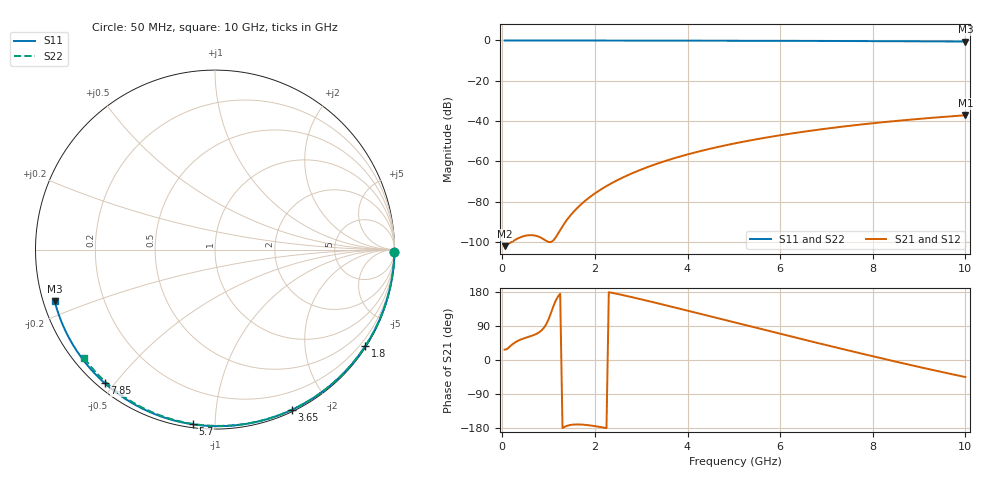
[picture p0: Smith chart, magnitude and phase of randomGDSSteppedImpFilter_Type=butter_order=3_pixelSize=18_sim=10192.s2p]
! freq	dB(S11)	phase(S11)	dB(S12)	phase(S12)
!  dB(S21)	phase(S21)	dB(S22)	phase(S22)
!S-par simulation data
#  GHz  S  DB  R 50
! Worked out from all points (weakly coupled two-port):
!   200 points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, 50 MHz to 10 GHz, reference 50 ohm
!   highest |S21| = -37.11 dB at 10 GHz (marker M1); lowest = -102.1 dB at 50 MHz (marker M2)
!   lowest |S11| = -0.6 dB at 10 GHz (marker M3), VSWR 31.47, Z = 1.63 - j7.86 ohm
!   |S11| at or under -10 dB: nowhere
!   |S22| runs from -0.5 to 0.0 dB; largest |S21 - S12| = 0
!   S11 on the Smith chart (normalised r, x): 50 MHz: open; 1.8 GHz: 0.03, -3.41; 3.65 GHz: 0.02, -1.58; 5.7 GHz: 0.02, -0.88; 7.85 GHz: 0.02, -0.47; 10 GHz: 0.03, -0.16
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0.05  -0.00 -0.9  -102.10 27.3  -102.10 27.3  -0.00 -0.8
0.45  -0.01 -8.3  -97.22 56.4  -97.22 56.4  -0.01 -7.3
0.9  -0.02 -16.5  -98.77 85.2  -98.77 85.2  -0.02 -14.5
1.3  -0.03 -23.7  -92.25 -179.7  -92.25 -179.7  -0.03 -20.9
1.75  -0.04 -31.8  -80.35 -170.7  -80.35 -170.7  -0.04 -28.0
1.8  -0.04 -32.7  -79.38 -171.3  -79.38 -171.3  -0.04 -28.8
2.1  -0.05 -38.0  -74.38 -176.4  -74.38 -176.4  -0.04 -33.5
2.3  -0.05 -41.5  -71.62 179.0  -71.62 179.0  -0.05 -36.6
2.5  -0.06 -45.0  -69.17 174.0  -69.17 174.0  -0.05 -39.7
2.9  -0.07 -51.8  -64.99 163.0  -64.99 163.0  -0.06 -45.8
3.4  -0.08 -60.3  -60.72 148.3  -60.72 148.3  -0.07 -53.3
3.65  -0.09 -64.5  -58.88 140.8  -58.88 140.8  -0.08 -57.0
4.3  -0.11 -75.2  -54.78 121.0  -54.78 121.0  -0.09 -66.4
5.05  -0.13 -87.1  -50.95 98.0  -50.95 98.0  -0.12 -77.0
5.7  -0.16 -97.2  -48.19 78.2  -48.19 78.2  -0.14 -85.9
6.2  -0.19 -104.9  -46.34 63.1  -46.34 63.1  -0.17 -92.6
6.7  -0.22 -112.4  -44.67 48.1  -44.67 48.1  -0.19 -99.1
7.25  -0.26 -120.6  -43.04 31.8  -43.04 31.8  -0.23 -106.2
7.85  -0.31 -129.5  -41.46 14.2  -41.46 14.2  -0.27 -113.8
8.35  -0.35 -137.0  -40.28 -0.2  -40.28 -0.2  -0.31 -120.1
9.2  -0.45 -149.7  -38.54 -23.8  -38.54 -23.8  -0.39 -130.6
10  -0.55 -162.1  -37.11 -45.0  -37.11 -45.0  -0.48 -140.4
